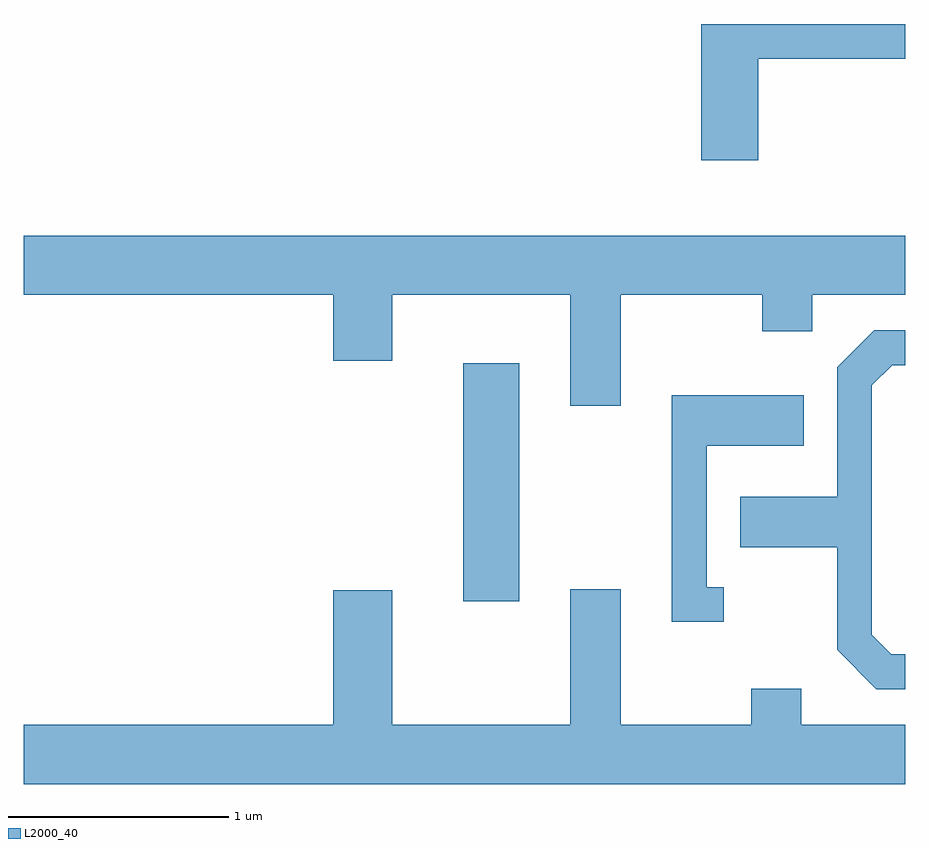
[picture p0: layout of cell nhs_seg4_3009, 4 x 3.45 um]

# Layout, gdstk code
import gdstk
lib = gdstk.Library(unit=1e-6, precision=1e-09)
def R(c, l, rs):  # rectangles x0, y0, x1, y1
    for r in rs: c.add(gdstk.rectangle(r[:2], r[2:], *l))
def P(c, l, *ps):  # polygons
    for p in ps: c.add(gdstk.Polygon(p, *l))
L2000_40 = (2000, 40)

nhs_seg4_3009 = lib.new_cell('nhs_seg4_3009')
R(nhs_seg4_3009, L2000_40, [(275.606,1288.906,275.859,1289.984)])
P(nhs_seg4_3009, L2000_40, [(276.944,1291.366),(277.611,1291.366),(277.611,1291.524),(276.686,1291.524),(276.686,1290.906),(276.944,1290.906)],
  [(276.319,1290.296),(276.961,1290.296),(276.961,1290.131),(277.189,1290.131),(277.189,1290.296),(277.611,1290.296),(277.611,1290.564),(273.611,1290.564),(273.611,1290.296),(275.016,1290.296),(275.016,1289.996),(275.284,1289.996),(275.284,1290.296),(276.091,1290.296),(276.091,1289.791),(276.319,1289.791)],
  [(277.611,1288.664),(277.547,1288.664),(277.459,1288.752),(277.459,1289.884),(277.552,1289.976),(277.611,1289.976),(277.611,1290.134),(277.469,1290.134),(277.301,1289.967),(277.301,1289.379),(276.861,1289.379),(276.861,1289.151),(277.301,1289.151),(277.301,1288.684),(277.479,1288.506),(277.611,1288.506)],
  [(276.788,1288.969),(276.709,1288.969),(276.709,1289.611),(277.149,1289.611),(277.149,1289.839),(276.551,1289.839),(276.551,1288.811),(276.788,1288.811)],
  [(277.611,1288.344),(277.139,1288.344),(277.139,1288.509),(276.911,1288.509),(276.911,1288.344),(276.319,1288.344),(276.319,1288.959),(276.091,1288.959),(276.091,1288.344),(275.284,1288.344),(275.284,1288.954),(275.016,1288.954),(275.016,1288.344),(273.611,1288.344),(273.611,1288.076),(277.611,1288.076)])

lib.write_gds('nhs_seg4_3009.gds')
